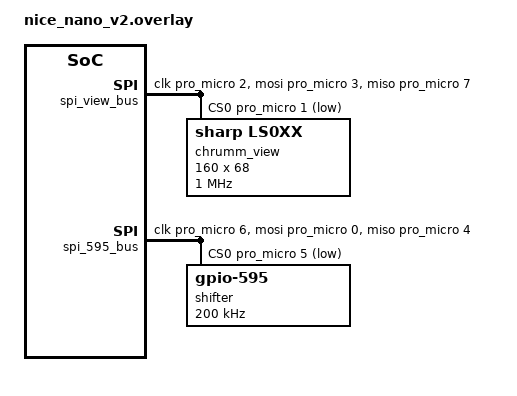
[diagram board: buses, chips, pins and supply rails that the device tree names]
/* chrumm — nice_nano_v2 overlay
 * Defines two software SPI buses:
 *  - spi_view_bus : for nice!view display (D1, D2, D3)
 *  - spi_595_bus  : for 74HC595 chain (D0, D4, D5)
 */

 / {
    /* Software SPI bus for nice!view */
    spi_view_bus: spi_view_bus {
        compatible = "zephyr,spi-bitbang";
        status = "okay";

        /* nice!view wiring:
         *   CS  → D1
         *   SCK → D2
         *   MOSI→ D3
         *   (MISO not used)
         */
        clk-gpios  = <&pro_micro 2 GPIO_ACTIVE_HIGH>;  /* D2: SCK */
        mosi-gpios = <&pro_micro 3 GPIO_ACTIVE_HIGH>;  /* D3: MOSI */
        miso-gpios = <&pro_micro 7 GPIO_ACTIVE_HIGH>;  /* unused, but required */

        cs-gpios   = <&pro_micro 1 GPIO_ACTIVE_LOW>;   /* D1: CS */

        #address-cells = <1>;
        #size-cells = <0>;
    };

    /* Software SPI bus for 74HC595 chain */
    spi_595_bus: spi_595_bus {
        compatible = "zephyr,spi-bitbang";
        status = "okay";

        /* 595 wiring:
         *   SERIAL OUTPUT (MISO) → D0
         *   SRCLK→ D5
         *   RCLK → D6 (latch)
         *   MISO → D4 (unused, but required)
         */
        clk-gpios  = <&pro_micro 6 GPIO_ACTIVE_HIGH>;  /* D5: shift clock */
        mosi-gpios = <&pro_micro 0 GPIO_ACTIVE_HIGH>;  /* D0: SERIAL OUT */
        miso-gpios = <&pro_micro 4 GPIO_ACTIVE_HIGH>;  /* unused, but required */

        cs-gpios   = <&pro_micro 5 GPIO_ACTIVE_LOW>;   /* D5: latch (RCLK) */

        #address-cells = <1>;
        #size-cells = <0>;

        shifter: gpio_595@0 {
            compatible = "zmk,gpio-595";
            status = "okay";

            reg = <0>;                  /* first entry in cs-gpios */
            spi-max-frequency = <200000>;

            gpio-controller;
            #gpio-cells = <2>;
            ngpios = <16>;              /* 2×74HC595 */
        };
    };
};

&spi_view_bus {
    status = "okay";

    chrumm_view: ls0xx@0 {
        compatible = "sharp,ls0xx";
        reg = <0>;
        spi-max-frequency = <1000000>;
        width = <160>;
        height = <68>;
    };
};

 / {
    chosen {
        zephyr,display = &chrumm_view;
    };
};


